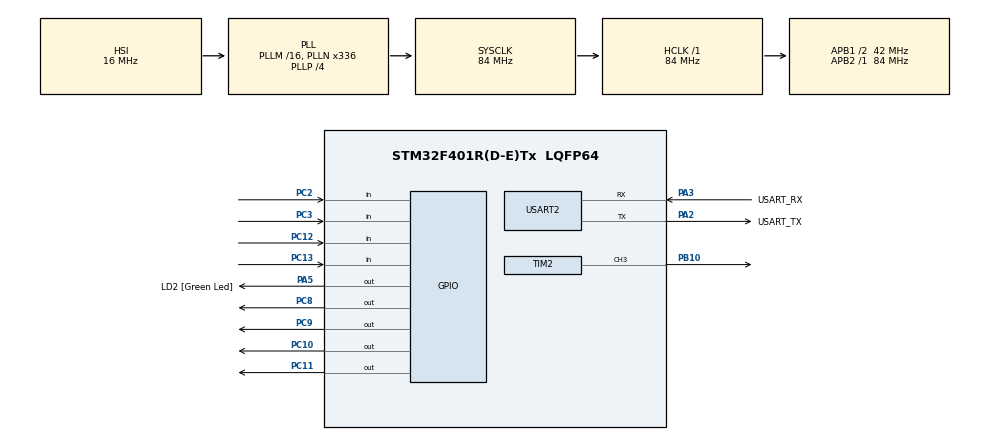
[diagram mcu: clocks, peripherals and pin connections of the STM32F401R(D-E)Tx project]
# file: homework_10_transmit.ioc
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Mcu.Family=STM32F4
Mcu.Name=STM32F401R(D-E)Tx
Mcu.Package=LQFP64
NVIC.PriorityGroup=NVIC_PRIORITYGROUP_0
NVIC.TIM1_UP_TIM10_IRQn=true\:0\:0\:false\:false\:true\:true\:true\:true
NVIC.TIM3_IRQn=true\:0\:0\:false\:false\:true\:true\:true\:true
PA13.GPIO_Label=TMS
PA13.Mode=Serial_Wire
PA13.Signal=SYS_JTMS-SWDIO
PA14.GPIO_Label=TCK
PA14.Mode=Serial_Wire
PA14.Signal=SYS_JTCK-SWCLK
PA2.GPIO_Label=USART_TX
PA2.GPIO_Mode=GPIO_MODE_AF_PP
PA2.GPIO_PuPd=GPIO_NOPULL
PA2.GPIO_Speed=GPIO_SPEED_FREQ_LOW
PA2.Mode=Asynchronous
PA2.Signal=USART2_TX
PA3.GPIO_Label=USART_RX
PA3.GPIO_Mode=GPIO_MODE_AF_PP
PA3.GPIO_PuPd=GPIO_NOPULL
PA3.GPIO_Speed=GPIO_SPEED_FREQ_LOW
PA3.Mode=Asynchronous
PA3.Signal=USART2_RX
PA5.GPIO_Label=LD2 [Green Led]
PA5.GPIO_Mode=GPIO_MODE_OUTPUT_PP
PA5.GPIO_PuPd=GPIO_NOPULL
PA5.GPIO_Speed=GPIO_SPEED_FREQ_LOW
PA5.Signal=GPIO_Output
PA9.Signal=USART1_TX
PB10.Signal=S_TIM2_CH3
PB3.GPIO_Label=SWO
PB3.Signal=SYS_JTDO-SWO
PC10.Signal=GPIO_Output
PC11.Signal=GPIO_Output
PC12.Signal=GPIO_Input
PC13-ANTI_TAMP.Signal=GPIO_Input
PC14-OSC32_IN.Mode=LSE-External-Oscillator
PC14-OSC32_IN.Signal=RCC_OSC32_IN
PC15-OSC32_OUT.Mode=LSE-External-Oscillator
PC15-OSC32_OUT.Signal=RCC_OSC32_OUT
PC2.Signal=GPIO_Input
PC3.Signal=GPIO_Input
PC8.Signal=GPIO_Output
PC9.Signal=GPIO_Output
PH0\ -\ OSC_IN.Mode=HSE-External-Clock-Source
PH0\ -\ OSC_IN.Signal=RCC_OSC_IN
PH1\ -\ OSC_OUT.Mode=HSE-External-Clock-Source
PH1\ -\ OSC_OUT.Signal=RCC_OSC_OUT
ProjectManager.HeapSize=0x200
ProjectManager.StackSize=0x400
ProjectManager.TargetToolchain=STM32CubeIDE
RCC.48MHZClocksFreq_Value=48000000
RCC.AHBFreq_Value=84000000
RCC.APB1CLKDivider=RCC_HCLK_DIV2
RCC.APB1Freq_Value=42000000
RCC.APB1TimFreq_Value=84000000
RCC.APB2Freq_Value=84000000
RCC.APB2TimFreq_Value=84000000
RCC.CortexFreq_Value=84000000
RCC.HCLKFreq_Value=84000000
RCC.HSE_VALUE=8000000
RCC.HSI_VALUE=16000000
RCC.PLLN=336
RCC.PLLP=RCC_PLLP_DIV4
RCC.PLLQ=7
RCC.SYSCLKFreq_VALUE=84000000
RCC.SYSCLKSource=RCC_SYSCLKSOURCE_PLLCLK
RCC.VCOOutputFreq_Value=336000000
SH.S_TIM2_CH3.0=TIM2_CH3,PWM Generation3 CH3
TIM1.Period=10-1
TIM1.Prescaler=3500-1
TIM2.Channel-PWM\ Generation3\ CH3=TIM_CHANNEL_3
TIM2.Period=10-1
TIM2.Prescaler=221-1
TIM2.Pulse-PWM\ Generation3\ CH3=5-1
TIM3.Period=30-1
TIM3.Prescaler=8400-1
USART2.VirtualMode=VM_ASYNC
VP_TIM1_VS_ClockSourceINT.Mode=Internal
VP_TIM2_VS_ClockSourceINT.Mode=Internal
VP_TIM3_VS_ClockSourceINT.Mode=Internal
board=NUCLEO-F401RE

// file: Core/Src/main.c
/* USER CODE BEGIN Header */
/**
  ******************************************************************************
  * @file           : main.c
  * @brief          : Main program body
  ******************************************************************************
  * @attention
  *
  * Copyright (c) 2023 STMicroelectronics.
  * All rights reserved.
  *
  * This software is licensed under terms that can be found in the LICENSE file
  * in the root directory of this software component.
  * If no LICENSE file comes with this software, it is provided AS-IS.
  *
  ******************************************************************************
  */
/* USER CODE END Header */
#include "main.h"

TIM_HandleTypeDef htim1;
TIM_HandleTypeDef htim2;
TIM_HandleTypeDef htim3;

UART_HandleTypeDef huart2;

/* USER CODE BEGIN PV */
volatile uint8_t buffer[2] = {0};
volatile int my_index = 0;
volatile int flag_keyboard = 0;

char stringa[64];

const uint16_t COLUMN_PIN[]= {
		GPIO_PIN_8,
		GPIO_PIN_9,
		GPIO_PIN_10,
		GPIO_PIN_11
};

const uint16_t ROW_PIN[] = {
		GPIO_PIN_12,
		GPIO_PIN_13,
		GPIO_PIN_2,
		GPIO_PIN_3
};

uint8_t key_state[16] = { 0 };

/* USER CODE END PV */

void SystemClock_Config(void);
static void MX_GPIO_Init(void);
static void MX_USART2_UART_Init(void);
static void MX_TIM1_Init(void);
static void MX_TIM2_Init(void);
static void MX_TIM3_Init(void);

/* USER CODE BEGIN 0 */
void continue_TX_callback() {
	uint16_t bit = *(uint16_t*)buffer;
	bit = (bit >> my_index) & 1;
	my_index++;

	if (bit) {
		HAL_TIM_PWM_Stop(&htim2, TIM_CHANNEL_3);
		//HAL_GPIO_WritePin(GPIOA, GPIO_PIN_5, 0);
	} else {
		HAL_TIM_PWM_Start(&htim2, TIM_CHANNEL_3);
		//HAL_GPIO_WritePin(GPIOA, GPIO_PIN_5, 1);
	}

	if (my_index > 9) {
		HAL_TIM_Base_Stop(&htim1);
		HAL_GPIO_WritePin(GPIOA, GPIO_PIN_5, 0);
	}
}

void scan_keyboard_callback() {
	flag_keyboard = 1;
}

void HAL_TIM_PeriodElapsedCallback(TIM_HandleTypeDef *htim) {
	if (htim == &htim3) scan_keyboard_callback();
	else if (htim == &htim1) continue_TX_callback();
}

void transmit_byte(uint8_t data) {
	HAL_GPIO_WritePin(GPIOA, GPIO_PIN_5, 1);

	buffer[0] = (data << 1); // 0000001P xxxxxxx0

	uint8_t parity = 0;
	for (int i = 0; i < 7; i++) {
		parity ^= (data >> i) & 1; // odd parity
	}

	buffer[1] = 0b10 | parity;

	my_index = 0;

	HAL_TIM_Base_Start_IT(&htim1);
}

void scan_keyboard(int* col_index) {
	HAL_GPIO_WritePin(GPIOC, COLUMN_PIN[*col_index], GPIO_PIN_SET);

	if (!flag_keyboard) return; // every time it is set to true, we pass to the next column
	//HAL_Delay(5); // ADESSO IL DEBOUNINC SI FA COL TIMER

	for (int row_index = 0; row_index < 4; row_index++) {
	  int row = (1 - HAL_GPIO_ReadPin(GPIOC, ROW_PIN[row_index])) * (row_index + 1);

	  int key_index = *col_index + (row - 1) * 4; // it's correct if row > 0

	  if (row != 0 && key_state[key_index] == 0) {
		  key_state[key_index] = 1;

		  if (((row - 1) == 3) || ((row - 1) >= 2 && *col_index >= 2)) {
			  key_index += 7;
		  }

		  char c = '0' + key_index;

		  transmit_byte(c);

		  int UART_length = snprintf(stringa, sizeof(stringa), "pressed: %c (%d, %d) -> %d\n\r", c, *col_index, row, key_index);
		  HAL_UART_Transmit(&huart2, stringa, UART_length, 100);

	  } else if (row == 0) {
		  key_state[*col_index + row_index * 4] = 0;
	  }
	}

	HAL_GPIO_WritePin(GPIOC, COLUMN_PIN[*col_index], GPIO_PIN_RESET);

	*col_index = (*col_index + 1) % 4;

	flag_keyboard = 0;
}
/* USER CODE END 0 */

int main(void)
{

  /* MCU Configuration--------------------------------------------------------*/

  /* Reset of all peripherals, Initializes the Flash interface and the Systick. */
  HAL_Init();

  /* Configure the system clock */
  SystemClock_Config();

  /* Initialize all configured peripherals */
  MX_GPIO_Init();
  MX_USART2_UART_Init();
  MX_TIM1_Init();
  MX_TIM2_Init();
  MX_TIM3_Init();
  /* USER CODE BEGIN 2 */
  int IR_index = 0;

  HAL_GPIO_WritePin(GPIOC, COLUMN_PIN[0], GPIO_PIN_RESET);
  HAL_GPIO_WritePin(GPIOC, COLUMN_PIN[1], GPIO_PIN_RESET);
  HAL_GPIO_WritePin(GPIOC, COLUMN_PIN[2], GPIO_PIN_RESET);
  HAL_GPIO_WritePin(GPIOC, COLUMN_PIN[3], GPIO_PIN_RESET);

  int keyboard_col_index = 0; // used to scan the column of the keyboard
  HAL_TIM_Base_Start_IT(&htim3);
  /* USER CODE END 2 */

  /* Infinite loop */
  /* USER CODE BEGIN WHILE */
  while (1)
  {
	scan_keyboard(&keyboard_col_index);
    /* USER CODE END WHILE */

  }
}

void SystemClock_Config(void)
{
  RCC_OscInitTypeDef RCC_OscInitStruct = {0};
  RCC_ClkInitTypeDef RCC_ClkInitStruct = {0};

  /** Configure the main internal regulator output voltage
  */
  __HAL_RCC_PWR_CLK_ENABLE();
  __HAL_PWR_VOLTAGESCALING_CONFIG(PWR_REGULATOR_VOLTAGE_SCALE2);

  /** Initializes the RCC Oscillators according to the specified parameters
  * in the RCC_OscInitTypeDef structure.
  */
  RCC_OscInitStruct.OscillatorType = RCC_OSCILLATORTYPE_HSI;
  RCC_OscInitStruct.HSIState = RCC_HSI_ON;
  RCC_OscInitStruct.HSICalibrationValue = RCC_HSICALIBRATION_DEFAULT;
  RCC_OscInitStruct.PLL.PLLState = RCC_PLL_ON;
  RCC_OscInitStruct.PLL.PLLSource = RCC_PLLSOURCE_HSI;
  RCC_OscInitStruct.PLL.PLLM = 16;
  RCC_OscInitStruct.PLL.PLLN = 336;
  RCC_OscInitStruct.PLL.PLLP = RCC_PLLP_DIV4;
  RCC_OscInitStruct.PLL.PLLQ = 7;
  if (HAL_RCC_OscConfig(&RCC_OscInitStruct) != HAL_OK)
  {
    Error_Handler();
  }

  /** Initializes the CPU, AHB and APB buses clocks
  */
  RCC_ClkInitStruct.ClockType = RCC_CLOCKTYPE_HCLK|RCC_CLOCKTYPE_SYSCLK
                              |RCC_CLOCKTYPE_PCLK1|RCC_CLOCKTYPE_PCLK2;
  RCC_ClkInitStruct.SYSCLKSource = RCC_SYSCLKSOURCE_PLLCLK;
  RCC_ClkInitStruct.AHBCLKDivider = RCC_SYSCLK_DIV1;
  RCC_ClkInitStruct.APB1CLKDivider = RCC_HCLK_DIV2;
  RCC_ClkInitStruct.APB2CLKDivider = RCC_HCLK_DIV1;

  if (HAL_RCC_ClockConfig(&RCC_ClkInitStruct, FLASH_LATENCY_2) != HAL_OK)
  {
    Error_Handler();
  }
}

static void MX_TIM1_Init(void)
{

  TIM_ClockConfigTypeDef sClockSourceConfig = {0};
  TIM_MasterConfigTypeDef sMasterConfig = {0};

  htim1.Instance = TIM1;
  htim1.Init.Prescaler = 3500-1;
  htim1.Init.CounterMode = TIM_COUNTERMODE_UP;
  htim1.Init.Period = 10-1;
  htim1.Init.ClockDivision = TIM_CLOCKDIVISION_DIV1;
  htim1.Init.RepetitionCounter = 0;
  htim1.Init.AutoReloadPreload = TIM_AUTORELOAD_PRELOAD_DISABLE;
  if (HAL_TIM_Base_Init(&htim1) != HAL_OK)
  {
    Error_Handler();
  }
  sClockSourceConfig.ClockSource = TIM_CLOCKSOURCE_INTERNAL;
  if (HAL_TIM_ConfigClockSource(&htim1, &sClockSourceConfig) != HAL_OK)
  {
    Error_Handler();
  }
  sMasterConfig.MasterOutputTrigger = TIM_TRGO_RESET;
  sMasterConfig.MasterSlaveMode = TIM_MASTERSLAVEMODE_DISABLE;
  if (HAL_TIMEx_MasterConfigSynchronization(&htim1, &sMasterConfig) != HAL_OK)
  {
    Error_Handler();
  }

}

static void MX_TIM2_Init(void)
{

  TIM_ClockConfigTypeDef sClockSourceConfig = {0};
  TIM_MasterConfigTypeDef sMasterConfig = {0};
  TIM_OC_InitTypeDef sConfigOC = {0};

  htim2.Instance = TIM2;
  htim2.Init.Prescaler = 221-1;
  htim2.Init.CounterMode = TIM_COUNTERMODE_UP;
  htim2.Init.Period = 10-1;
  htim2.Init.ClockDivision = TIM_CLOCKDIVISION_DIV1;
  htim2.Init.AutoReloadPreload = TIM_AUTORELOAD_PRELOAD_DISABLE;
  if (HAL_TIM_Base_Init(&htim2) != HAL_OK)
  {
    Error_Handler();
  }
  sClockSourceConfig.ClockSource = TIM_CLOCKSOURCE_INTERNAL;
  if (HAL_TIM_ConfigClockSource(&htim2, &sClockSourceConfig) != HAL_OK)
  {
    Error_Handler();
  }
  if (HAL_TIM_PWM_Init(&htim2) != HAL_OK)
  {
    Error_Handler();
  }
  sMasterConfig.MasterOutputTrigger = TIM_TRGO_RESET;
  sMasterConfig.MasterSlaveMode = TIM_MASTERSLAVEMODE_DISABLE;
  if (HAL_TIMEx_MasterConfigSynchronization(&htim2, &sMasterConfig) != HAL_OK)
  {
    Error_Handler();
  }
  sConfigOC.OCMode = TIM_OCMODE_PWM1;
  sConfigOC.Pulse = 5-1;
  sConfigOC.OCPolarity = TIM_OCPOLARITY_HIGH;
  sConfigOC.OCFastMode = TIM_OCFAST_DISABLE;
  if (HAL_TIM_PWM_ConfigChannel(&htim2, &sConfigOC, TIM_CHANNEL_3) != HAL_OK)
  {
    Error_Handler();
  }
  HAL_TIM_MspPostInit(&htim2);

}

static void MX_TIM3_Init(void)
{

  TIM_ClockConfigTypeDef sClockSourceConfig = {0};
  TIM_MasterConfigTypeDef sMasterConfig = {0};

  htim3.Instance = TIM3;
  htim3.Init.Prescaler = 8400-1;
  htim3.Init.CounterMode = TIM_COUNTERMODE_UP;
  htim3.Init.Period = 30-1;
  htim3.Init.ClockDivision = TIM_CLOCKDIVISION_DIV1;
  htim3.Init.AutoReloadPreload = TIM_AUTORELOAD_PRELOAD_DISABLE;
  if (HAL_TIM_Base_Init(&htim3) != HAL_OK)
  {
    Error_Handler();
  }
  sClockSourceConfig.ClockSource = TIM_CLOCKSOURCE_INTERNAL;
  if (HAL_TIM_ConfigClockSource(&htim3, &sClockSourceConfig) != HAL_OK)
  {
    Error_Handler();
  }
  sMasterConfig.MasterOutputTrigger = TIM_TRGO_RESET;
  sMasterConfig.MasterSlaveMode = TIM_MASTERSLAVEMODE_DISABLE;
  if (HAL_TIMEx_MasterConfigSynchronization(&htim3, &sMasterConfig) != HAL_OK)
  {
    Error_Handler();
  }

}

static void MX_USART2_UART_Init(void)
{

  huart2.Instance = USART2;
  huart2.Init.BaudRate = 115200;
  huart2.Init.WordLength = UART_WORDLENGTH_8B;
  huart2.Init.StopBits = UART_STOPBITS_1;
  huart2.Init.Parity = UART_PARITY_NONE;
  huart2.Init.Mode = UART_MODE_TX_RX;
  huart2.Init.HwFlowCtl = UART_HWCONTROL_NONE;
  huart2.Init.OverSampling = UART_OVERSAMPLING_16;
  if (HAL_UART_Init(&huart2) != HAL_OK)
  {
    Error_Handler();
  }

}

static void MX_GPIO_Init(void)
{
  GPIO_InitTypeDef GPIO_InitStruct = {0};

  /* GPIO Ports Clock Enable */
  __HAL_RCC_GPIOC_CLK_ENABLE();
  __HAL_RCC_GPIOH_CLK_ENABLE();
  __HAL_RCC_GPIOA_CLK_ENABLE();
  __HAL_RCC_GPIOB_CLK_ENABLE();

  /*Configure GPIO pin Output Level */
  HAL_GPIO_WritePin(LD2_GPIO_Port, LD2_Pin, GPIO_PIN_RESET);

  /*Configure GPIO pin Output Level */
  HAL_GPIO_WritePin(GPIOC, GPIO_PIN_8|GPIO_PIN_9|GPIO_PIN_10|GPIO_PIN_11, GPIO_PIN_RESET);

  /*Configure GPIO pins : PC13 PC2 PC3 PC12 */
  GPIO_InitStruct.Pin = GPIO_PIN_13|GPIO_PIN_2|GPIO_PIN_3|GPIO_PIN_12;
  GPIO_InitStruct.Mode = GPIO_MODE_INPUT;
  GPIO_InitStruct.Pull = GPIO_NOPULL;
  HAL_GPIO_Init(GPIOC, &GPIO_InitStruct);

  /*Configure GPIO pin : LD2_Pin */
  GPIO_InitStruct.Pin = LD2_Pin;
  GPIO_InitStruct.Mode = GPIO_MODE_OUTPUT_PP;
  GPIO_InitStruct.Pull = GPIO_NOPULL;
  GPIO_InitStruct.Speed = GPIO_SPEED_FREQ_LOW;
  HAL_GPIO_Init(LD2_GPIO_Port, &GPIO_InitStruct);

  /*Configure GPIO pins : PC8 PC9 PC10 PC11 */
  GPIO_InitStruct.Pin = GPIO_PIN_8|GPIO_PIN_9|GPIO_PIN_10|GPIO_PIN_11;
  GPIO_InitStruct.Mode = GPIO_MODE_OUTPUT_PP;
  GPIO_InitStruct.Pull = GPIO_NOPULL;
  GPIO_InitStruct.Speed = GPIO_SPEED_FREQ_LOW;
  HAL_GPIO_Init(GPIOC, &GPIO_InitStruct);

  /*Configure GPIO pin : PA9 */
  GPIO_InitStruct.Pin = GPIO_PIN_9;
  GPIO_InitStruct.Mode = GPIO_MODE_AF_PP;
  GPIO_InitStruct.Pull = GPIO_NOPULL;
  GPIO_InitStruct.Speed = GPIO_SPEED_FREQ_VERY_HIGH;
  GPIO_InitStruct.Alternate = GPIO_AF7_USART1;
  HAL_GPIO_Init(GPIOA, &GPIO_InitStruct);

}

void Error_Handler(void)
{
  __disable_irq();
  while (1)
  {
  }
}
